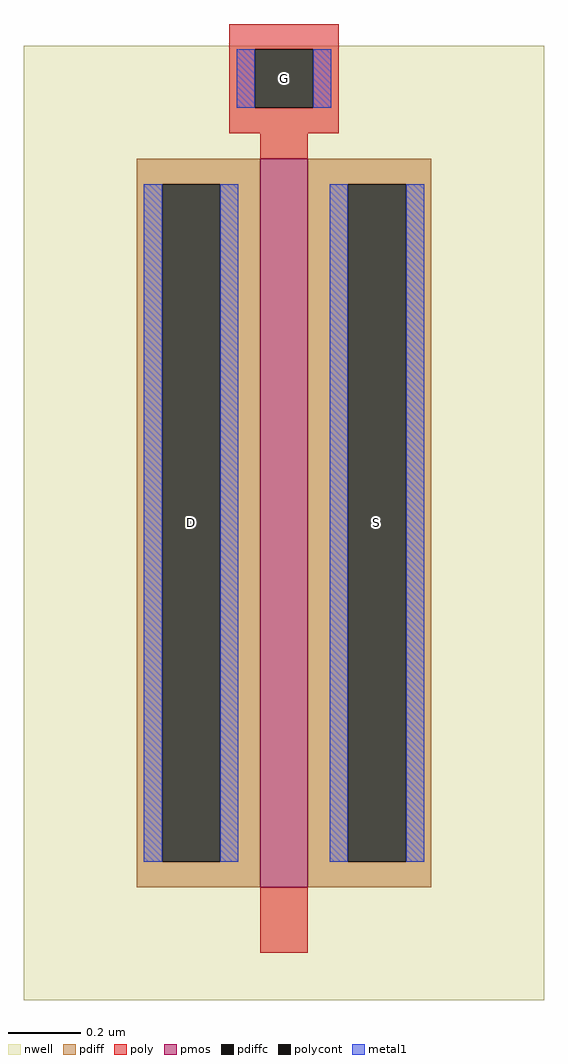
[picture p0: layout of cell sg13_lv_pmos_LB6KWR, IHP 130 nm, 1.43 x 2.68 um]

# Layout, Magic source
magic
tech ihp-sg13g2
magscale 1 2
<< nwell >>
rect -143 -281 143 243
<< pmos >>
rect -13 -219 13 181
<< pdiff >>
rect -81 167 -13 181
rect -81 -205 -67 167
rect -35 -205 -13 167
rect -81 -219 -13 -205
rect 13 167 81 181
rect 13 -205 35 167
rect 67 -205 81 167
rect 13 -219 81 -205
<< pdiffc >>
rect -67 -205 -35 167
rect 35 -205 67 167
<< poly >>
rect -30 241 30 255
rect -30 209 -16 241
rect 16 209 30 241
rect -30 195 30 209
rect -13 181 13 195
rect -13 -255 13 -219
<< polycont >>
rect -16 209 16 241
<< metal1 >>
rect -26 209 -16 241
rect 16 209 26 241
rect -77 -205 -67 167
rect -35 -205 -25 167
rect 25 -205 35 167
rect 67 -205 77 167
<< labels >>
rlabel pdiffc -51 -19 -51 -19 0 D
port 1 nsew
rlabel pdiffc 51 -19 51 -19 0 S
port 2 nsew
rlabel polycont 0 225 0 225 0 G
port 3 nsew
<< properties >>
string gencell sg13_lv_pmos
string library sg13g2
string parameters w 2 l 0.13 m 1 nf 1 diffcov 100 polycov 100 guard 0 glc 1 grc 1 gtc 1 gbc 1 tbcov 100 rlcov 100 topc 1 botc 0 poverlap 0 doverlap 1 lmin 0.13 wmin 0.15 class mosfet compatible {sg13_lv_pmos sg13_hv_pmos} full_metal 1 conn_gates 0 gate_ring 0 ccols 1 viasrc 0 viadrn 0 viagate 0 viagb 0 viagr 0 viagl 0 viagt 0 doports 1
<< end >>
